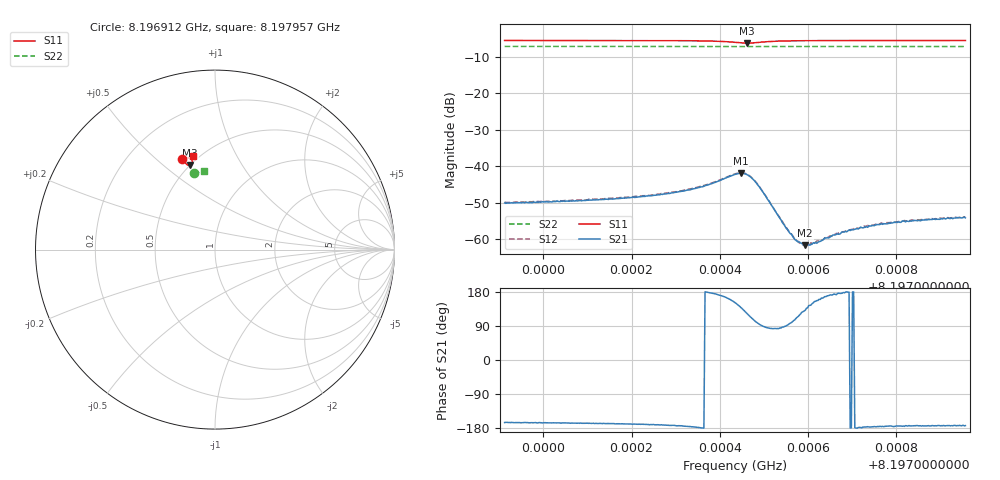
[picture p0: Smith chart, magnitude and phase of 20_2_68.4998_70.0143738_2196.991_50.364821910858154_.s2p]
#  HZ  S  RI  R  50.00
! Rohde & Schwarz Vector Network Analyzer
! Rohde-Schwarz,ZNB20-2Port,1311601062101988,3.16
! Created: UTC 3/20/2024, 4:49:23 PM
! freq[Hz]  re:S11  im:S11  re:S21  im:S21  re:S12  im:S12  re:S22  im:S22
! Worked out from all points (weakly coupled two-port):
!   401 points, 8.196912 GHz to 8.197957 GHz, reference 50 ohm
!   highest |S21| = -41.95 dB at 8.197448 GHz (marker M1); lowest = -61.8 dB at 8.197594 GHz (marker M2)
!   lowest |S11| = -6.2 dB at 8.197461 GHz (marker M3), VSWR 2.94, Z = 24.9 + j31 ohm
!   |S11| at or under -10 dB: nowhere
!   |S22| runs from -7.1 to -7.0 dB; largest |S21 - S12| = 0.00044
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8.1969121e9  -0.1857 0.503  -0.00302 -0.000808  -0.00309 -0.000715  -0.1195 0.4279
8.1970872e9  -0.1723 0.5072  -0.00325 -0.000754  -0.00339 -0.000642  -0.1098 0.43
8.1971996e9  -0.1626 0.5097  -0.00365 -0.000714  -0.00374 -0.00057  -0.1035 0.4313
8.1972623e9  -0.1561 0.5107  -0.004 -0.000634  -0.0041 -0.000485  -0.1002 0.4321
8.1973067e9  -0.1507 0.511  -0.00439 -0.000512  -0.00451 -0.00033  -0.0978 0.4325
8.197359e9  -0.1422 0.5098  -0.00521 -6.75e-05  -0.00528 0.000122  -0.0944 0.4331
8.1974348e9  -0.1264 0.4885  -0.00678 0.00368  -0.0067 0.00408  -0.0903 0.4333
8.1974478e9  -0.1298 0.4789  -0.00603 0.00524  -0.00586 0.00562  -0.0896 0.433
8.1974609e9  -0.1392 0.4718  -0.00431 0.00641  -0.00408 0.00666  -0.0892 0.4331
8.197474e9  -0.1513 0.4714  -0.00222 0.0064  -0.00196 0.00654  -0.0889 0.4332
8.197487e9  -0.1604 0.4772  -0.000622 0.00541  -0.000421 0.00554  -0.0884 0.4336
8.1975498e9  -0.1611 0.5031  1.85e-05 0.00144  4.49e-05 0.00143  -0.0849 0.4348
8.1975707e9  -0.158 0.5066  -0.000275 0.000941  -0.000252 0.000987  -0.0837 0.435
8.1975811e9  -0.1565 0.5079  -0.000435 0.000794  -0.000374 0.000789  -0.083 0.4352
8.1975942e9  -0.1548 0.5094  -0.000539 0.000612  -0.000557 0.000651  -0.0822 0.4353
8.1976099e9  -0.1527 0.5107  -0.00073 0.000441  -0.000718 0.000448  -0.0814 0.4354
8.1976621e9  -0.1469 0.5138  -0.00113 0.000131  -0.00115 0.000167  -0.0784 0.4359
8.1976961e9  -0.1435 0.5152  -0.0013 -2.01e-05  -0.00134 3.61e-05  -0.0764 0.4362
8.1977301e9  -0.1402 0.5163  -0.00144 -8e-05  -0.00149 4.36e-06  -0.0746 0.4364
8.197785e9  -0.1354 0.5179  -0.00163 -0.000152  -0.00168 -8.89e-05  -0.0715 0.4369
8.197819e9  -0.1326 0.5188  -0.00175 -0.000146  -0.00179 -9.18e-05  -0.0697 0.4372
8.1979575e9  -0.1217 0.5215  -0.00193 -0.000232  -0.00201 -0.000149  -0.0618 0.438
